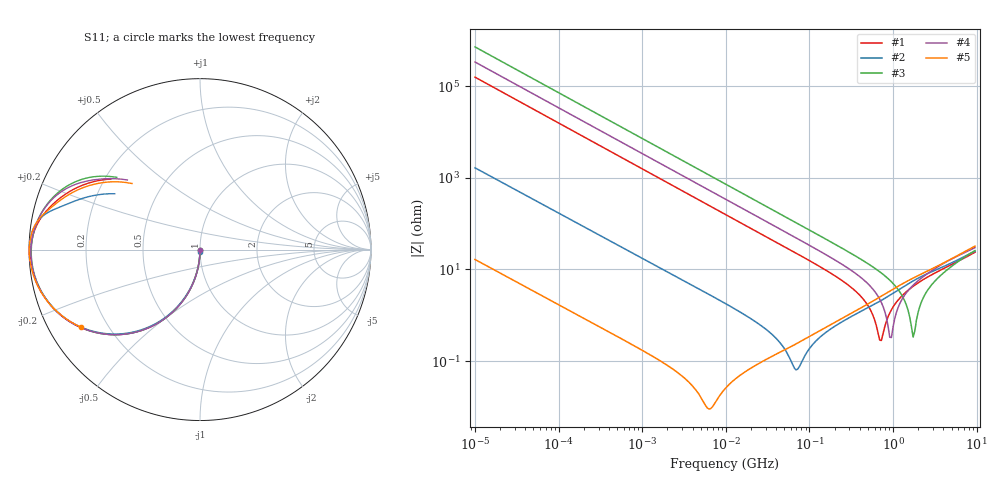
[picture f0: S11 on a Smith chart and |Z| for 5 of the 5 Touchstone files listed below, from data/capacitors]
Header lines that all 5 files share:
! Temp = 25?C, Bias = 0VDC, Shunt
! KEMET S2P Model
# HZ S DB R 50
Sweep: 10 kHz to 9.55 GHz
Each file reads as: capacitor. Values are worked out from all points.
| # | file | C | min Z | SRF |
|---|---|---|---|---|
| 1 | C0603C101J5GACTU.s2p | 101 pF | 281 mohm | 711.4 MHz |
| 2 | C0603C103K5RACTU.s2p | 9.61 nF | 64.3 mohm | 69.85 MHz |
| 3 | C0603C220J5GAC.s2p | 22.1 pF | 334 mohm | 1.755 GHz |
| 4 | C0603C470J1GACTU.s2p | 47.3 pF | 326 mohm | 935.4 MHz |
| 5 | C1206C105K5RACTU.s2p | 960 nF | 8.96 mohm | 6.368 MHz |
